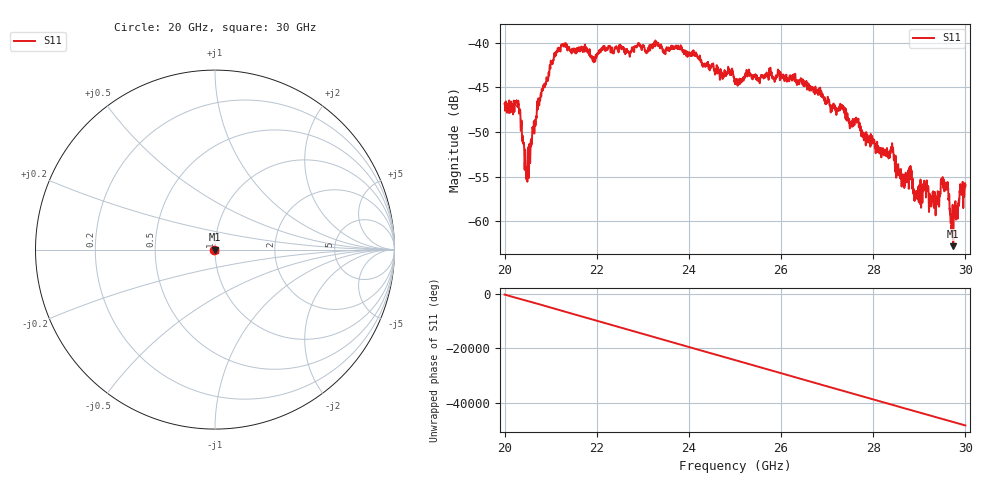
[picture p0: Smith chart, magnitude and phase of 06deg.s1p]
#  HZ  S  RI  R  50.00
! Rohde & Schwarz ZVA40 4Ports - Version 3.90 - 1145.1110k42 SN: 100403
! Date: 2023-10-03 11:36:35
! Measurement: S12
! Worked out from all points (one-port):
!   5001 points, 20 GHz to 30 GHz, reference 50 ohm
!   lowest |S11| = -62.8 dB at 29.74 GHz (marker M1), VSWR 1.00, Z = 50.1 - j0.00515 ohm
!   |S11| at or under -10 dB: start of sweep to end of sweep
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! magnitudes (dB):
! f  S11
! 20 GHz  -46.8
! 20.29 GHz  -46.8
! 20.48 GHz  -54.2
! 20.75 GHz  -47.0
! 21.05 GHz  -42.1
! 21.25 GHz  -40.2
! 21.75 GHz  -40.8
! 21.92 GHz  -41.6
! 22.5 GHz  -40.3
! 23.75 GHz  -40.7
! 25 GHz  -44.6
! 26.25 GHz  -43.7
! 27.33 GHz  -47.1
! 27.5 GHz  -49.2
! 27.66 GHz  -48.7
! 28.14 GHz  -52.2
! 28.41 GHz  -51.3
! 28.54 GHz  -53.8
! 28.75 GHz  -55.2
! 28.83 GHz  -54.5
! 28.92 GHz  -57.4
! 29.13 GHz  -56.0
! 29.25 GHz  -58.3
! 29.57 GHz  -56.5
! 29.69 GHz  -60.3
! 29.74 GHz  -62.8
! 29.9 GHz  -56.7
! 30 GHz  -56.1
